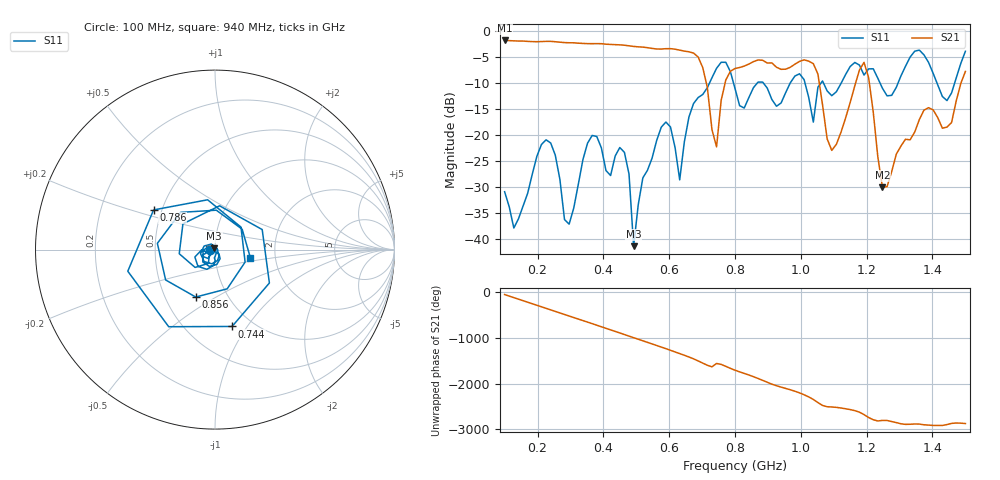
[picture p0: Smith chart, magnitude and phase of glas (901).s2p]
! NanoVNA-App
! Date: 2025-09-25 16:02:29
! Start: 100MHz Stop: 1,5GHz Points: 101
! S-Parameter data: F S11 S21 S12 S22
# Hz S RI R 50
!  Frequency  S11_Real  S11_Imag  S21_Real  S21_Imag  S12_Real  S12_Imag  S22_Real  S22_Imag
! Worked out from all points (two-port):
!   101 points, 100 MHz to 1.5 GHz, reference 50 ohm
!   highest |S21| = -1.80 dB at 100 MHz (marker M1); lowest = -30.1 dB at 1.248 GHz (marker M2)
!   |S21| within 3 dB of the highest: start of sweep to 684.6 MHz
!   lowest |S11| = -41.4 dB at 492 MHz (marker M3), VSWR 1.02, Z = 49.5 + j0.65 ohm
!   |S11| at or under -10 dB: start of sweep to 722.5 MHz; 795.5 MHz to 867.6 MHz (72.13 MHz wide, 8.67 % of centre); 886.2 MHz to 967.7 MHz (81.46 MHz wide, 8.79 % of centre) (the widest 3 of 7)
!   S12 and S22 are empty: the file has one direction only
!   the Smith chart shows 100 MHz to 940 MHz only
!   S11 on the Smith chart (normalised r, x): 100 MHz: 0.94, -0.01; 744 MHz: 0.81, -0.85; 786 MHz: 0.45, +0.24; 856 MHz: 0.71, -0.41; 940 MHz: 1.48, -0.15
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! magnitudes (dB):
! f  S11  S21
! 100 MHz  -30.9  -1.8
! 128 MHz  -37.9  -1.9
! 226 MHz  -20.9  -2.0
! 296 MHz  -37.2  -2.2
! 338 MHz  -24.7  -2.4
! 464 MHz  -23.3  -2.7
! 492 MHz  -41.4  -3.0
! 576 MHz  -18.5  -3.5
! 632 MHz  -28.6  -3.7
! 702 MHz  -12.2  -7.0
! 744 MHz  -7.2  -22.3
! 786 MHz  -7.8  -7.7
! 800 MHz  -11.0  -7.2
! 856 MHz  -10.9  -5.9
! 940 MHz  -13.8  -7.4
! 996 MHz  -8.2  -5.8
! 1.038 GHz  -17.5  -6.3
! 1.094 GHz  -12.4  -23.0
! 1.192 GHz  -8.5  -6.0
! 1.248 GHz  -11.0  -30.1
! 1.276 GHz  -12.4  -27.1
! 1.5 GHz  -3.9  -7.8
